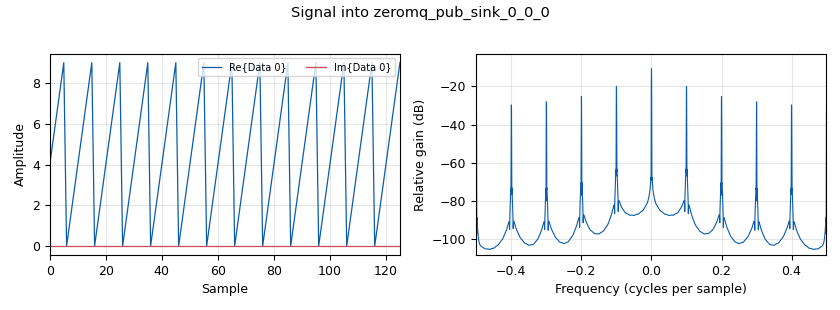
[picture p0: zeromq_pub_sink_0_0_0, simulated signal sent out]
options:
  parameters:
    generate_options: qt_gui
    id: unidireccional
    output_language: python
    title: Not titled yet
  states: {}

blocks:
- name: samp_rate
  id: variable
  parameters:
    value: '5'
  states: {}
- name: blocks_vector_to_stream_0_0
  id: blocks_vector_to_stream
  parameters:
    num_items: '1'
    type: complex
    vlen: '10'
  states: {}
- name: blocks_vector_to_stream_0_0_0
  id: blocks_vector_to_stream
  parameters:
    num_items: '1'
    type: complex
    vlen: '10'
  states: {}
- name: epy_block_0_0_0
  id: epy_block
  parameters:
    _source_code: |
      """
      Embedded Python Blocks:

      Each time this file is saved, GRC will instantiate the first class it finds
      to get ports and parameters of your block. The arguments to __init__  will
      be the parameters. All of them are required to have default values!
      """

      import numpy as np
      from gnuradio import gr


      class blk(gr.sync_block):  # other base classes are basic_block, decim_block, interp_block
          """Embedded Python Block example - a simple multiply const"""

          def __init__(self, example_param=1.0):  # only default arguments here
              """arguments to this function show up as parameters in GRC"""
              gr.sync_block.__init__(
                  self,
                  name='Embedded Python Block',   # will show up in GRC
                  in_sig=[],
                  out_sig=[(np.complex64, 10)]
              )
              # if an attribute with the same name as a parameter is found,
              # a callback is registered (properties work, too).
              self.example_param = example_param
              self.lim = 5
              self.arr = np.full(10, -1)

          def work(self, input_items, output_items):
              """example: multiply with constant"""
              output_items[0][:] = self.arr
              if self.lim > 0:
                      print("pub: ", self.arr)
                      self.lim = self.lim-1
              return 10
    comment: esta parte envia arreglos de dim 2
    example_param: '1.0'
  states: {}
- name: epy_block_0_0_0_0_0
  id: epy_block
  parameters:
    _source_code: |
      """
      Embedded Python Blocks:

      Each time this file is saved, GRC will instantiate the first class it finds
      to get ports and parameters of your block. The arguments to __init__  will
      be the parameters. All of them are required to have default values!
      """

      import numpy as np
      from gnuradio import gr


      class blk(gr.sync_block):  # other base classes are basic_block, decim_block, interp_block
          """Embedded Python Block example - a simple multiply const"""

          def __init__(self, example_param=1.0):  # only default arguments here
              """arguments to this function show up as parameters in GRC"""
              gr.sync_block.__init__(
                  self,
                  name='Embedded Python Block',   # will show up in GRC
                  in_sig=[],
                  out_sig=[(np.complex64, 10)]
              )
              # if an attribute with the same name as a parameter is found,
              # a callback is registered (properties work, too).
              self.example_param = example_param
              self.lim = 5
              self.arr = [0, 1, 2, 3, 4, 5, 6, 7, 8, 9]

          def work(self, input_items, output_items):
              """example: multiply with constant"""
              
              if self.lim > 0:
                      print("pub: ", self.arr)
                      self.lim = self.lim-1
                      output_items[0][:] = self.arr
              return 10
    comment: esta parte envia arr
    example_param: '1.0'
  states: {}
- name: zeromq_pub_sink_0_0
  id: zeromq_pub_sink
  parameters:
    address: tcp://127.0.0.1:5606
    timeout: '5'
    type: complex
    vlen: '10'
  states: {}
- name: zeromq_pub_sink_0_0_0
  id: zeromq_pub_sink
  parameters:
    address: tcp://127.0.0.1:5605
    timeout: '5'
    type: complex
    vlen: '10'
  states: {}

connections:
- [blocks_vector_to_stream_0_0, '0', zeromq_pub_sink_0_0, '0']
- [blocks_vector_to_stream_0_0_0, '0', zeromq_pub_sink_0_0_0, '0']
- [epy_block_0_0_0, '0', blocks_vector_to_stream_0_0, '0']
- [epy_block_0_0_0_0_0, '0', blocks_vector_to_stream_0_0_0, '0']

metadata:
  file_format: 1
